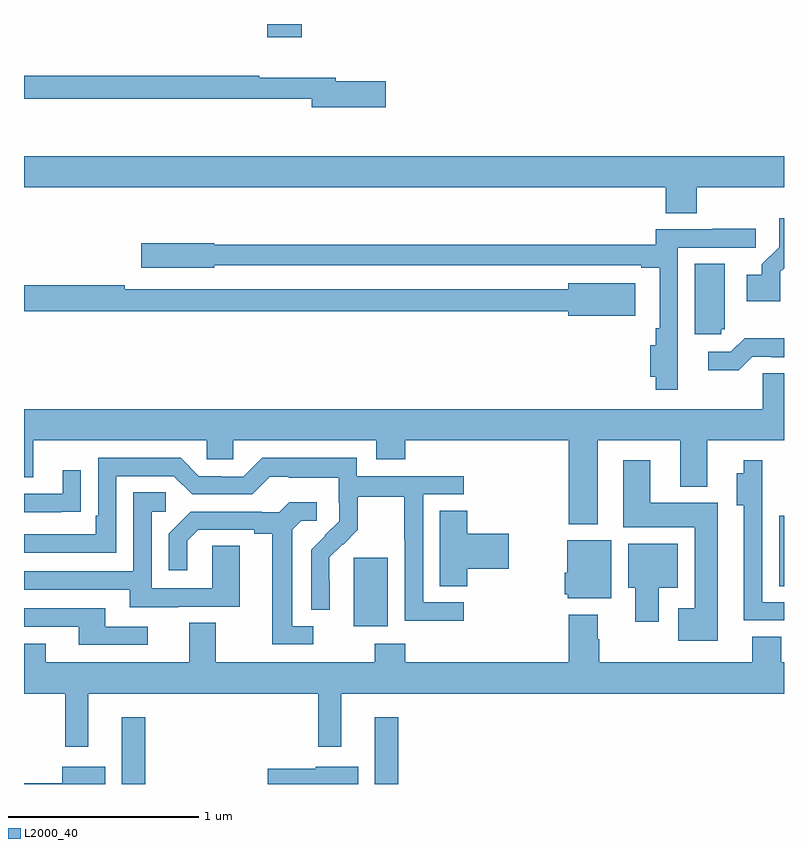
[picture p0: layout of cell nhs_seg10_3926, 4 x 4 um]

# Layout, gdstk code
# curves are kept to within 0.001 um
import gdstk
lib = gdstk.Library(unit=1e-6, precision=1e-09)
def R(c, l, rs):  # rectangles x0, y0, x1, y1
    for r in rs: c.add(gdstk.rectangle(r[:2], r[2:], *l))
def P(c, l, *ps):  # polygons
    for p in ps: c.add(gdstk.Polygon(p, *l))
L2000_40 = (2000, 40)

nhs_seg10_3926 = lib.new_cell('nhs_seg10_3926')
R(nhs_seg10_3926, L2000_40, [(327.515,1306.5,327.637,1306.852), (328.847,1306.5,328.969,1306.852), (328.736,1307.33,328.915,1307.691), (330.974,1307.542,331,1307.913), (328.28,1310.43,328.463,1310.5)])
P(nhs_seg10_3926, L2000_40, [(328.903,1310.198),(328.642,1310.198),(328.642,1310.216),(328.238,1310.216),(328.238,1310.227),(327,1310.227),(327,1310.106),(328.514,1310.106),(328.514,1310.063),(328.903,1310.063)],
  [(330.542,1309.64),(331,1309.64),(331,1309.804),(327,1309.804),(327,1309.64),(330.377,1309.64),(330.377,1309.504),(330.542,1309.504)],
  [(330.981,1309.195),(331,1309.214),(331,1309.477),(330.975,1309.477),(330.975,1309.325),(330.884,1309.235),(330.884,1309.18),(330.804,1309.18),(330.804,1309.04),(330.981,1309.04)],
  [(330.442,1308.798),(330.441,1308.798),(330.441,1309.323),(330.85,1309.323),(330.85,1309.422),(330.625,1309.422),(330.625,1309.419),(330.325,1309.419),(330.325,1309.339),(328.002,1309.339),(328.002,1309.347),(327.618,1309.347),(327.618,1309.217),(328.002,1309.217),(328.002,1309.23),(330.248,1309.23),(330.248,1309.218),(330.345,1309.218),(330.345,1308.898),(330.325,1308.898),(330.325,1308.81),(330.296,1308.81),(330.296,1308.644),(330.325,1308.644),(330.325,1308.576),(330.442,1308.576)],
  [(330.669,1308.894),(330.688,1308.894),(330.688,1309.238),(330.53,1309.238),(330.53,1308.867),(330.669,1308.867)],
  [(330.217,1309.135),(329.864,1309.135),(329.864,1309.104),(327.53,1309.104),(327.53,1309.124),(327,1309.124),(327,1308.988),(329.864,1308.988),(329.864,1308.965),(330.217,1308.965)],
  [(330.834,1308.75),(330.934,1308.75),(330.934,1308.747),(331,1308.747),(331,1308.847),(330.793,1308.847),(330.72,1308.774),(330.6,1308.774),(330.6,1308.677),(330.761,1308.677)],
  [(330.019,1308.308),(330.455,1308.308),(330.455,1308.065),(330.595,1308.065),(330.595,1308.308),(331,1308.308),(331,1308.662),(330.888,1308.662),(330.888,1308.472),(327,1308.472),(327,1308.114),(327.049,1308.114),(327.049,1308.308),(327.963,1308.308),(327.963,1308.21),(328.101,1308.21),(328.101,1308.308),(328.853,1308.308),(328.853,1308.209),(329.006,1308.209),(329.006,1308.308),(329.867,1308.308),(329.867,1307.867),(330.019,1307.867)],
  [(329.314,1307.457),(329.1,1307.457),(329.1,1308.024),(329.314,1308.024),(329.314,1308.12),(328.752,1308.12),(328.752,1308.217),(328.255,1308.217),(328.155,1308.117),(328.04,1308.117),(328.04,1308.12),(327.921,1308.12),(327.825,1308.216),(327.39,1308.216),(327.39,1307.911),(327.377,1307.911),(327.377,1307.814),(327,1307.814),(327,1307.718),(327.486,1307.718),(327.486,1308.12),(327.789,1308.12),(327.885,1308.024),(328.2,1308.024),(328.293,1308.117),(328.393,1308.117),(328.393,1308.113),(328.656,1308.113),(328.656,1307.979),(328.658,1307.979),(328.658,1307.882),(328.512,1307.734),(328.512,1307.416),(328.608,1307.416),(328.607,1307.693),(328.677,1307.763),(328.68,1307.76),(328.757,1307.837),(328.757,1308.012),(329.002,1308.012),(329.002,1307.788),(329.004,1307.788),(329.004,1307.359),(329.314,1307.359)],
  [(331,1307.457),(330.885,1307.457),(330.885,1307.982),(330.886,1307.982),(330.886,1308.205),(330.788,1308.205),(330.788,1308.136),(330.752,1308.136),(330.752,1307.966),(330.788,1307.966),(330.788,1307.361),(331,1307.361)],
  [(330.652,1307.98),(330.295,1307.98),(330.295,1308.205),(330.155,1308.205),(330.155,1307.852),(330.53,1307.852),(330.53,1307.425),(330.443,1307.425),(330.443,1307.255),(330.652,1307.255)],
  [(327.197,1307.932),(327.299,1307.932),(327.299,1308.151),(327.203,1308.151),(327.203,1308.027),(327,1308.027),(327,1307.931),(327.197,1307.931)],
  [(327.811,1307.433),(328.135,1307.433),(328.135,1307.753),(327.99,1307.753),(327.99,1307.529),(327.672,1307.529),(327.672,1307.934),(327.745,1307.934),(327.745,1308.035),(327.576,1308.035),(327.576,1307.619),(327,1307.619),(327,1307.523),(327.557,1307.523),(327.557,1307.429),(327.811,1307.429)],
  [(328.522,1307.331),(328.411,1307.331),(328.411,1307.839),(328.458,1307.886),(328.54,1307.886),(328.54,1307.983),(328.396,1307.983),(328.344,1307.931),(328.25,1307.931),(328.25,1307.934),(327.878,1307.934),(327.762,1307.818),(327.762,1307.625),(327.859,1307.625),(327.859,1307.781),(327.916,1307.838),(328.211,1307.838),(328.211,1307.816),(328.307,1307.816),(328.307,1307.235),(328.522,1307.235)],
  [(329.333,1307.633),(329.551,1307.633),(329.551,1307.816),(329.333,1307.816),(329.333,1307.939),(329.189,1307.939),(329.189,1307.542),(329.333,1307.542)],
  [(330.091,1307.782),(329.858,1307.782),(329.858,1307.613),(329.846,1307.613),(329.846,1307.499),(329.862,1307.499),(329.862,1307.477),(330.091,1307.477)],
  [(330.34,1307.534),(330.442,1307.534),(330.442,1307.764),(330.179,1307.764),(330.179,1307.534),(330.218,1307.534),(330.218,1307.355),(330.34,1307.355)],
  [(327.652,1307.328),(327.427,1307.328),(327.427,1307.424),(327,1307.424),(327,1307.328),(327.287,1307.328),(327.287,1307.232),(327.652,1307.232)],
  [(327.337,1306.976),(328.548,1306.976),(328.548,1306.695),(328.669,1306.695),(328.669,1306.976),(331,1306.976),(331,1307.14),(330.986,1307.14),(330.986,1307.276),(330.833,1307.276),(330.833,1307.14),(330.027,1307.14),(330.027,1307.261),(330.019,1307.261),(330.019,1307.392),(329.867,1307.392),(329.867,1307.14),(329.006,1307.14),(329.006,1307.239),(328.846,1307.239),(328.846,1307.14),(328.009,1307.14),(328.009,1307.348),(327.869,1307.348),(327.869,1307.14),(327.115,1307.14),(327.115,1307.239),(327,1307.239),(327,1306.976),(327.216,1306.976),(327.216,1306.695),(327.337,1306.695)],
  [(328.759,1306.591),(328.536,1306.591),(328.536,1306.581),(328.284,1306.581),(328.284,1306.5),(328.759,1306.5)],
  [(327.427,1306.591),(327.2,1306.591),(327.2,1306.503),(327,1306.503),(327,1306.5),(327.427,1306.5)])

lib.write_gds('nhs_seg10_3926.gds')
